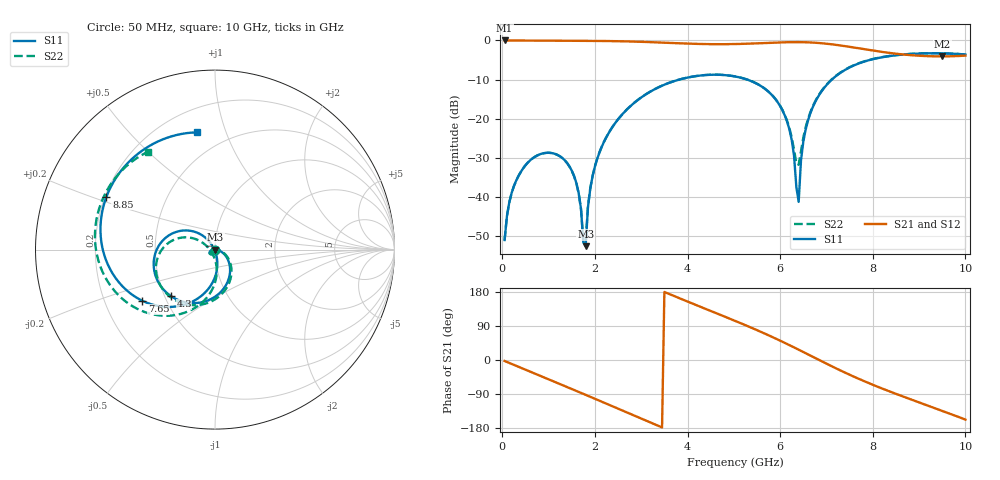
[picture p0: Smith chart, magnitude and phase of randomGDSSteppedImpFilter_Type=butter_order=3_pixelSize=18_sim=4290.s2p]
! freq	dB(S11)	phase(S11)	dB(S12)	phase(S12)
!  dB(S21)	phase(S21)	dB(S22)	phase(S22)
!S-par simulation data
#  GHz  S  DB  R 50
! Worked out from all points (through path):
!   200 points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, 50 MHz to 10 GHz, reference 50 ohm
!   highest |S21| = -0.01 dB at 50 MHz (marker M1); lowest = -4.1 dB at 9.5 GHz (marker M2)
!   group delay of S21, straight-line fit = 146 ps
!   lowest |S11| = -52.6 dB at 1.8 GHz (marker M3), VSWR 1.00, Z = 50.2 + j0.0505 ohm
!   |S11| at or under -10 dB: start of sweep to 3.827 GHz; 5.284 GHz to 7.118 GHz (1.835 GHz wide, 29.6 % of centre)
!   |S22| runs from -51.5 to -3.3 dB; largest |S21 - S12| = 0
!   S11 on the Smith chart (normalised r, x): 50 MHz: 1.00, -0.01; 4.3 GHz: 0.54, -0.32; 7.65 GHz: 0.37, -0.28; 8.85 GHz: 0.21, +0.22; 10 GHz: 0.34, +0.80
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0.05  -51.05 -86.2  -0.01 -2.6  -0.01 -2.6  -51.05 -86.2
0.35  -34.66 -107.1  -0.03 -17.9  -0.03 -17.9  -34.66 -106.8
1  -28.73 -142.4  -0.07 -51.0  -0.07 -51.0  -28.74 -141.6
1.55  -34.68 -172.1  -0.09 -79.1  -0.09 -79.1  -34.73 -171.7
1.7  -43.11 176.8  -0.10 -86.8  -0.10 -86.8  -43.22 174.6
1.75  -51.67 161.0  -0.10 -89.3  -0.10 -89.3  -51.47 150.6
1.8  -52.62 12.4  -0.11 -91.9  -0.11 -91.9  -51.46 24.7
1.9  -37.91 -6.0  -0.11 -97.1  -0.11 -97.1  -37.76 -1.4
2.2  -25.85 -23.9  -0.14 -112.7  -0.14 -112.7  -25.81 -20.6
3.4  -11.84 -87.8  -0.53 -175.4  -0.53 -175.4  -11.83 -83.2
4.3  -8.95 -133.5  -0.91 139.3  -0.91 139.3  -8.93 -127.3
5.05  -9.27 -171.1  -0.92 102.1  -0.92 102.1  -9.25 -162.7
6.05  -17.88 135.0  -0.48 48.1  -0.48 48.1  -17.79 152.0
6.25  -25.47 124.8  -0.43 36.3  -0.43 36.3  -24.83 154.5
6.4  -41.29 -93.4  -0.43 27.2  -0.43 27.2  -31.79 -128.2
6.5  -25.91 -77.5  -0.45 21.1  -0.45 21.1  -24.85 -89.6
6.7  -17.18 -88.0  -0.54 8.8  -0.54 8.8  -16.96 -86.5
7.65  -6.10 -144.9  -1.92 -47.1  -1.92 -47.1  -6.05 -133.5
8.35  -4.02 178.2  -3.18 -82.3  -3.18 -82.3  -3.98 -166.5
8.85  -3.44 154.0  -3.80 -105.1  -3.80 -105.1  -3.42 172.1
9.5  -3.30 123.2  -4.08 -134.1  -4.08 -134.1  -3.29 145.4
10  -3.60 98.6  -3.88 -157.2  -3.88 -157.2  -3.60 124.3
